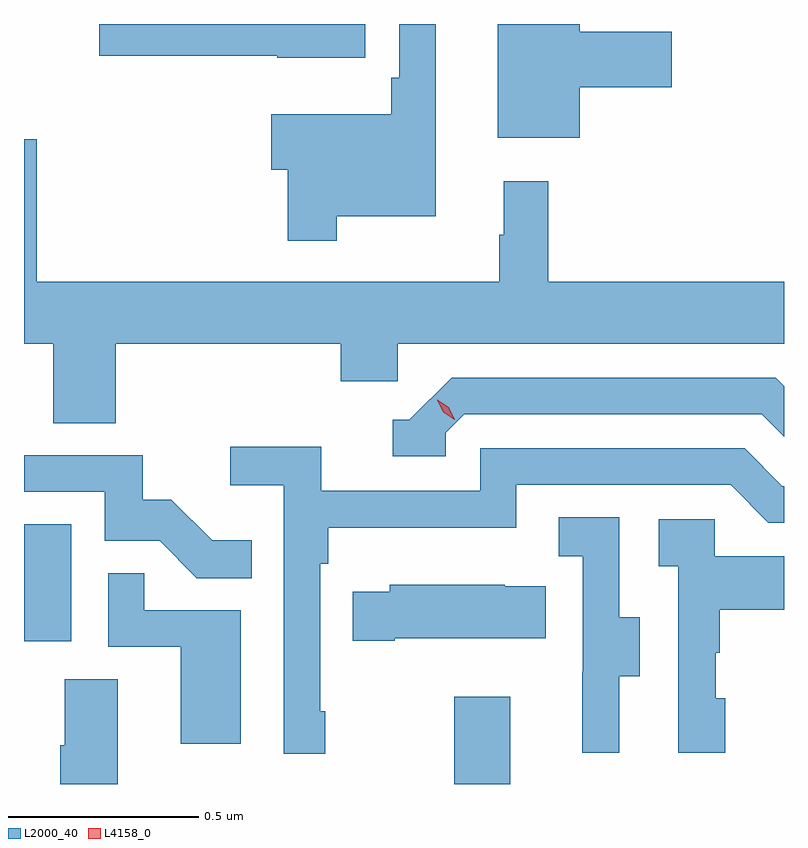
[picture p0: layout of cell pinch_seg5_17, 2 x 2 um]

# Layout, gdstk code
import gdstk
lib = gdstk.Library(unit=1e-6, precision=1e-09)
def R(c, l, rs):  # rectangles x0, y0, x1, y1
    for r in rs: c.add(gdstk.rectangle(r[:2], r[2:], *l))
def P(c, l, *ps):  # polygons
    for p in ps: c.add(gdstk.Polygon(p, *l))
L2000_40 = (2000, 40)
L4158_0 = (4158, 0)

pinch_seg5_17 = lib.new_cell('pinch_seg5_17')
R(pinch_seg5_17, L2000_40, [(1125.31,907.55,1125.457,907.78), (1124.178,907.926,1124.302,908.233)])
P(pinch_seg5_17, L2000_40, [(1125.076,909.55),(1124.376,909.55),(1124.376,909.467),(1124.844,909.467),(1124.844,909.461),(1125.076,909.461)],
  [(1125.001,909.044),(1125.262,909.044),(1125.262,909.55),(1125.165,909.55),(1125.165,909.409),(1125.145,909.409),(1125.145,909.313),(1124.828,909.313),(1124.828,909.166),(1124.872,909.166),(1124.872,908.979),(1125.001,908.979)],
  [(1125.64,909.383),(1125.883,909.383),(1125.883,909.53),(1125.64,909.53),(1125.64,909.55),(1125.425,909.55),(1125.425,909.251),(1125.64,909.251)],
  [(1124.42,908.708),(1125.011,908.708),(1125.011,908.61),(1125.162,908.61),(1125.162,908.708),(1126.178,908.708),(1126.178,908.872),(1125.557,908.872),(1125.557,909.136),(1125.44,909.136),(1125.44,908.996),(1125.429,908.996),(1125.429,908.872),(1124.212,908.872),(1124.212,909.247),(1124.178,909.247),(1124.178,908.708),(1124.255,908.708),(1124.255,908.5),(1124.42,908.5)],
  [(1125.288,908.475),(1125.336,908.523),(1126.119,908.523),(1126.178,908.464),(1126.178,908.597),(1126.156,908.619),(1125.303,908.619),(1125.192,908.508),(1125.149,908.508),(1125.149,908.412),(1125.288,908.412)],
  [(1124.971,907.741),(1124.958,907.741),(1124.958,908.129),(1124.978,908.129),(1124.978,908.225),(1125.474,908.225),(1125.474,908.337),(1126.038,908.337),(1126.137,908.238),(1126.178,908.238),(1126.178,908.334),(1126.174,908.334),(1126.075,908.433),(1125.378,908.433),(1125.378,908.322),(1124.96,908.322),(1124.96,908.438),(1124.721,908.438),(1124.721,908.336),(1124.862,908.336),(1124.862,907.629),(1124.971,907.629)],
  [(1124.777,908.191),(1124.673,908.191),(1124.566,908.298),(1124.49,908.298),(1124.49,908.415),(1124.178,908.415),(1124.178,908.319),(1124.391,908.319),(1124.391,908.19),(1124.535,908.19),(1124.633,908.092),(1124.777,908.092)],
  [(1125.745,907.834),(1125.799,907.834),(1125.799,907.989),(1125.744,907.989),(1125.744,908.252),(1125.585,908.252),(1125.585,908.149),(1125.648,908.149),(1125.648,907.845),(1125.647,907.845),(1125.647,907.632),(1125.745,907.632)],
  [(1126.024,907.776),(1125.999,907.776),(1125.999,907.895),(1126.009,907.895),(1126.009,908.009),(1126.178,908.009),(1126.178,908.149),(1125.996,908.149),(1125.996,908.247),(1125.849,908.247),(1125.849,908.123),(1125.9,908.123),(1125.9,907.632),(1126.024,907.632)],
  [(1124.749,908.007),(1124.495,908.007),(1124.495,908.105),(1124.4,908.105),(1124.4,907.911),(1124.591,907.911),(1124.591,907.656),(1124.749,907.656)],
  [(1125.154,907.934),(1125.551,907.934),(1125.551,908.071),(1125.443,908.071),(1125.443,908.074),(1125.141,908.074),(1125.141,908.056),(1125.043,908.056),(1125.043,907.927),(1125.154,907.927)],
  [(1124.425,907.826),(1124.285,907.826),(1124.285,907.652),(1124.273,907.652),(1124.273,907.55),(1124.425,907.55)])
P(pinch_seg5_17, L4158_0, [(1125.312,908.508),(1125.281,908.528),(1125.265,908.561),(1125.265,908.561),(1125.265,908.561),(1125.296,908.541),(1125.312,908.509),(1125.312,908.508)])

lib.write_gds('pinch_seg5_17.gds')
